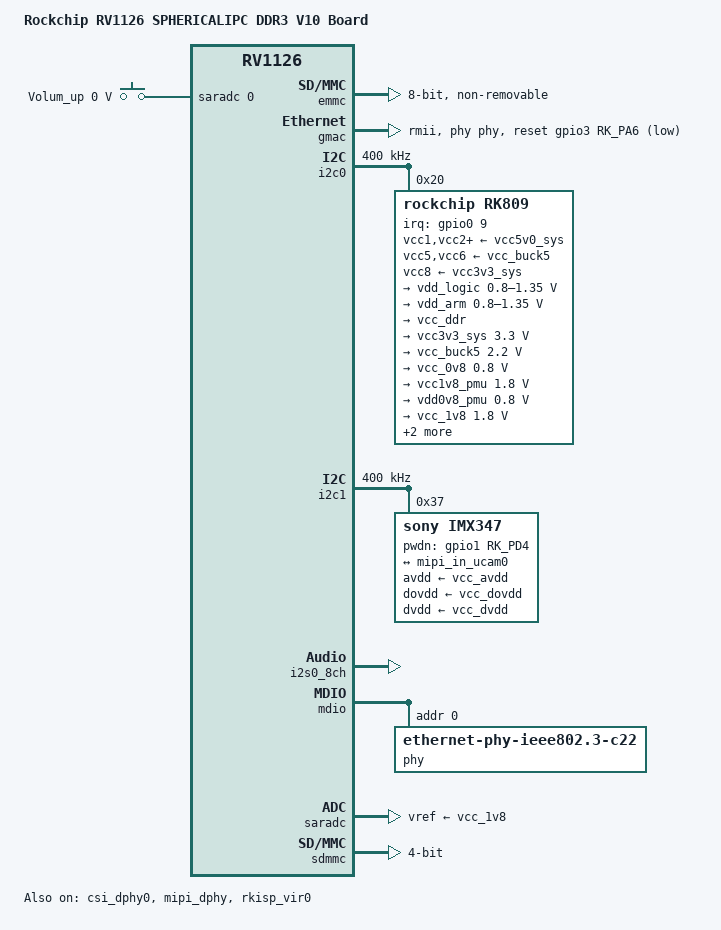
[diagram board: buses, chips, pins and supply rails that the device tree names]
// SPDX-License-Identifier: (GPL-2.0+ OR MIT)
/*
 * Copyright (c) 2020 Fuzhou Rockchip Electronics Co., Ltd.
 */

/dts-v1/;
#include "rv1126.dtsi"
#include "rv1126-ipc.dtsi"
#include <dt-bindings/input/input.h>

/ {
	model = "Rockchip RV1126 SPHERICALIPC DDR3 V10 Board";
	compatible = "rockchip,rv1126-sphericalipc-ddr3-v10", "rockchip,rv1126";

	adc-keys {
		compatible = "adc-keys";
		io-channels = <&saradc 0>;
		io-channel-names = "buttons";
		poll-interval = <100>;
		keyup-threshold-microvolt = <1800000>;

		recovery {
			label = "Volum_up";
			linux,code = <KEY_VOLUMEUP>;
			press-threshold-microvolt = <0>;
		};
	};

	rk809_sound: rk809-sound {
		compatible = "simple-audio-card";
		simple-audio-card,format = "i2s";
		simple-audio-card,name = "rockchip,rk809-codec";
		simple-audio-card,mclk-fs = <256>;
		simple-audio-card,widgets =
			"Microphone", "Mic Jack",
			"Headphone", "Headphone Jack";
		simple-audio-card,routing =
			"Mic Jack", "MICBIAS1",
			"IN1P", "Mic Jack",
			"Headphone Jack", "HPOL",
			"Headphone Jack", "HPOR";
		simple-audio-card,cpu {
			sound-dai = <&i2s0_8ch>;
		};
		simple-audio-card,codec {
			sound-dai = <&rk809_codec>;
		};
	};
};

&csi_dphy0 {
	status = "okay";

	ports {
		#address-cells = <1>;
		#size-cells = <0>;

		port@0 {
			reg = <0>;
			#address-cells = <1>;
			#size-cells = <0>;

			mipi_in_ucam0: endpoint@1 {
				reg = <1>;
				remote-endpoint = <&ucam_out0>;
				data-lanes = <1 2 3 4>;
			};
		};

		port@1 {
			reg = <1>;
			#address-cells = <1>;
			#size-cells = <0>;

			csidphy0_out: endpoint@0 {
				reg = <0>;
				remote-endpoint = <&isp_in>;
			};
		};

	};
};

&emmc {
	bus-width = <8>;
	cap-mmc-highspeed;
	non-removable;
	mmc-hs200-1_8v;
	rockchip,default-sample-phase = <90>;
	no-sdio;
	no-sd;
	/delete-property/ pinctrl-names;
	/delete-property/ pinctrl-0;
	status = "okay";
};

&gmac {
	phy-mode = "rmii";
	clock_in_out = "output";

	snps,reset-gpio = <&gpio3 RK_PA6 GPIO_ACTIVE_LOW>;
	snps,reset-active-low;
	snps,reset-delays-us = <0 50000 50000>;

	assigned-clocks = <&cru CLK_GMAC_SRC>, <&cru CLK_GMAC_TX_RX>;
	assigned-clock-parents = <&cru CLK_GMAC_SRC_M0>, <&cru RMII_MODE_CLK>;
	assigned-clock-rates = <50000000>;

	pinctrl-names = "default";
	pinctrl-0 = <&rmiim0_miim &rgmiim0_rxer &rmiim0_bus2 &rgmiim0_mclkinout_level0>;

	phy-handle = <&phy>;
	status = "okay";
};

&i2c0 {
	status = "okay";
	clock-frequency = <400000>;

	rk809: pmic@20 {
		compatible = "rockchip,rk809";
		reg = <0x20>;
		interrupt-parent = <&gpio0>;
		interrupts = <9 IRQ_TYPE_LEVEL_LOW>;
		pinctrl-names = "default", "pmic-sleep",
			"pmic-power-off", "pmic-reset";
		pinctrl-0 = <&pmic_int>;
		pinctrl-1 = <&soc_slppin_slp>, <&rk817_slppin_slp>;
		pinctrl-2 = <&soc_slppin_gpio>, <&rk817_slppin_pwrdn>;
		pinctrl-3 = <&soc_slppin_rst>, <&rk817_slppin_rst>;
		rockchip,system-power-controller;
		wakeup-source;
		#clock-cells = <1>;
		clock-output-names = "rk808-clkout1", "rk808-clkout2";
		/* 0: rst the pmic, 1: rst regs (default in codes) */
		pmic-reset-func = <0>;

		vcc1-supply = <&vcc5v0_sys>;
		vcc2-supply = <&vcc5v0_sys>;
		vcc3-supply = <&vcc5v0_sys>;
		vcc4-supply = <&vcc5v0_sys>;
		vcc5-supply = <&vcc_buck5>;
		vcc6-supply = <&vcc_buck5>;
		vcc7-supply = <&vcc5v0_sys>;
		vcc8-supply = <&vcc3v3_sys>;
		vcc9-supply = <&vcc5v0_sys>;

		pwrkey {
			status = "okay";
		};

		pinctrl_rk8xx: pinctrl_rk8xx {
			gpio-controller;
			#gpio-cells = <2>;

			/omit-if-no-ref/
			rk817_slppin_null: rk817_slppin_null {
				pins = "gpio_slp";
				function = "pin_fun0";
			};

			/omit-if-no-ref/
			rk817_slppin_slp: rk817_slppin_slp {
				pins = "gpio_slp";
				function = "pin_fun1";
			};

			/omit-if-no-ref/
			rk817_slppin_pwrdn: rk817_slppin_pwrdn {
				pins = "gpio_slp";
				function = "pin_fun2";
			};

			/omit-if-no-ref/
			rk817_slppin_rst: rk817_slppin_rst {
				pins = "gpio_slp";
				function = "pin_fun3";
			};
		};

		regulators {
			vdd_logic: DCDC_REG1 {
				regulator-always-on;
				regulator-boot-on;
				regulator-min-microvolt = <800000>;
				regulator-max-microvolt = <1350000>;
				regulator-ramp-delay = <6001>;
				regulator-initial-mode = <0x2>;
				regulator-name = "vdd_logic";
				regulator-state-mem {
					regulator-on-in-suspend;
					regulator-suspend-microvolt = <800000>;
				};
			};

			vdd_arm: DCDC_REG2 {
				regulator-always-on;
				regulator-boot-on;
				regulator-min-microvolt = <800000>;
				regulator-max-microvolt = <1350000>;
				regulator-ramp-delay = <6001>;
				regulator-initial-mode = <0x2>;
				regulator-name = "vdd_arm";
				regulator-state-mem {
					regulator-off-in-suspend;
				};
			};

			vcc_ddr: DCDC_REG3 {
				regulator-always-on;
				regulator-boot-on;
				regulator-initial-mode = <0x2>;
				regulator-name = "vcc_ddr";
				regulator-state-mem {
					regulator-on-in-suspend;
				};
			};

			vcc3v3_sys: DCDC_REG4 {
				regulator-always-on;
				regulator-boot-on;
				regulator-min-microvolt = <3300000>;
				regulator-max-microvolt = <3300000>;
				regulator-initial-mode = <0x2>;
				regulator-name = "vcc3v3_sys";
				regulator-state-mem {
					regulator-on-in-suspend;
					regulator-suspend-microvolt = <3300000>;
				};
			};

			vcc_buck5: DCDC_REG5 {
				regulator-always-on;
				regulator-boot-on;
				regulator-min-microvolt = <2200000>;
				regulator-max-microvolt = <2200000>;
				regulator-name = "vcc_buck5";
				regulator-state-mem {
					regulator-on-in-suspend;
					regulator-suspend-microvolt = <2200000>;
				};
			};

			vcc_0v8: LDO_REG1 {
				regulator-always-on;
				regulator-boot-on;
				regulator-min-microvolt = <800000>;
				regulator-max-microvolt = <800000>;
				regulator-name = "vcc_0v8";
				regulator-state-mem {
					regulator-off-in-suspend;
				};
			};

			vcc1v8_pmu: LDO_REG2 {
				regulator-always-on;
				regulator-boot-on;
				regulator-min-microvolt = <1800000>;
				regulator-max-microvolt = <1800000>;
				regulator-name = "vcc1v8_pmu";
				regulator-state-mem {
					regulator-on-in-suspend;
					regulator-suspend-microvolt = <1800000>;
				};
			};

			vdd0v8_pmu: LDO_REG3 {
				regulator-always-on;
				regulator-boot-on;
				regulator-min-microvolt = <800000>;
				regulator-max-microvolt = <800000>;
				regulator-name = "vcc0v8_pmu";
				regulator-state-mem {
					regulator-on-in-suspend;
					regulator-suspend-microvolt = <800000>;
				};
			};

			vcc_1v8: LDO_REG4 {
				regulator-always-on;
				regulator-boot-on;
				regulator-min-microvolt = <1800000>;
				regulator-max-microvolt = <1800000>;
				regulator-name = "vcc_1v8";
				regulator-state-mem {
					regulator-on-in-suspend;
					regulator-suspend-microvolt = <1800000>;
				};
			};

			vcc_dovdd: LDO_REG5 {
				regulator-boot-on;
				regulator-min-microvolt = <1800000>;
				regulator-max-microvolt = <1800000>;
				regulator-name = "vcc_dovdd";
				regulator-state-mem {
					regulator-off-in-suspend;
				};
			};

			vcc_dvdd: LDO_REG6 {
				regulator-min-microvolt = <1200000>;
				regulator-max-microvolt = <1200000>;
				regulator-name = "vcc_dvdd";
				regulator-state-mem {
					regulator-off-in-suspend;
				};
			};

			vcc_avdd: LDO_REG7 {
				regulator-min-microvolt = <2800000>;
				regulator-max-microvolt = <2800000>;
				regulator-name = "vcc_avdd";
				regulator-state-mem {
					regulator-off-in-suspend;
				};
			};

			vccio_sd: LDO_REG8 {
				regulator-always-on;
				regulator-boot-on;
				regulator-min-microvolt = <1800000>;
				regulator-max-microvolt = <3300000>;
				regulator-name = "vccio_sd";
				regulator-state-mem {
					regulator-off-in-suspend;
				};
			};

			vcc_ldo9: LDO_REG9 {
				regulator-always-off;
				regulator-boot-off;
				regulator-name = "vcc_ldo9";
				regulator-state-mem {
					regulator-off-in-suspend;
				};
			};

			vcc_sw1: SWITCH_REG1 {
				regulator-always-off;
				regulator-boot-off;
				regulator-name = "vcc_sw1";
			};

			vcc_3v3: SWITCH_REG2 {
				regulator-always-on;
				regulator-boot-on;
				regulator-name = "vcc_3v3";
			};
		};

		rk809_codec: codec {
			#sound-dai-cells = <0>;
			compatible = "rockchip,rk809-codec", "rockchip,rk817-codec";
			clocks = <&cru MCLK_I2S0_TX_OUT2IO>;
			clock-names = "mclk";
			pinctrl-names = "default";
			assigned-clocks = <&cru MCLK_I2S0_TX_OUT2IO>;
			assigned-clock-parents = <&cru MCLK_I2S0_TX>;
			pinctrl-0 = <&i2s0m0_mclk>;
			hp-volume = <20>;
			spk-volume = <3>;
		};
	};
};

&i2c1 {
	status = "okay";
	clock-frequency = <400000>;
	i2c-scl-rising-time-ns = <280>;
	i2c-scl-falling-time-ns = <16>;

	imx347: imx347@37 {
		compatible = "sony,imx347";
		reg = <0x37>;
		clocks = <&cru CLK_MIPICSI_OUT>;
		clock-names = "xvclk";
		power-domains = <&power RV1126_PD_VI>;
		pinctrl-names = "default";
		pinctrl-0 = <&mipicsi_clk0>;
		avdd-supply = <&vcc_avdd>;
		dovdd-supply = <&vcc_dovdd>;
		dvdd-supply = <&vcc_dvdd>;
		pwdn-gpios = <&gpio1 RK_PD4 GPIO_ACTIVE_HIGH>;
		rockchip,camera-module-index = <1>;
		rockchip,camera-module-facing = "front";
		rockchip,camera-module-name = "JSD3425-C1";
		rockchip,camera-module-lens-name = "40IRC";
		port {
			ucam_out0: endpoint {
				remote-endpoint = <&mipi_in_ucam0>;
				data-lanes = <1 2 3 4>;
			};
		};
	};
};

&i2s0_8ch {
	status = "okay";
	#sound-dai-cells = <0>;
	rockchip,clk-trcm = <1>;
	rockchip,i2s-rx-route = <3 1 2 0>;
	pinctrl-names = "default";
	pinctrl-0 = <&i2s0m0_sclk_tx
		     &i2s0m0_lrck_tx
		     &i2s0m0_sdo0
		     &i2s0m0_sdo1_sdi3>;
};

&mdio {
	phy: phy@0 {
		compatible = "ethernet-phy-ieee802.3-c22";
		reg = <0x0>;
	};
};

&mipi_dphy {
	status = "okay";
};

&pmu_io_domains {
	status = "okay";

	pmuio0-supply = <&vcc1v8_pmu>;
	pmuio1-supply = <&vcc3v3_sys>;
	vccio2-supply = <&vccio_sd>;
	vccio4-supply = <&vcc_1v8>;
	vccio5-supply = <&vcc_3v3>;
	vccio6-supply = <&vcc_3v3>;
	vccio7-supply = <&vcc_1v8>;
};

&rkisp_vir0 {
	status = "okay";

	ports {
		port@0 {
			reg = <0>;
			#address-cells = <1>;
			#size-cells = <0>;

			isp_in: endpoint@0 {
				reg = <0>;
				remote-endpoint = <&csidphy0_out>;
			};
		};
	};
};

&saradc {
	status = "okay";
	vref-supply = <&vcc_1v8>;
};

&sdmmc {
	bus-width = <4>;
	cap-mmc-highspeed;
	cap-sd-highspeed;
	card-detect-delay = <200>;
	rockchip,default-sample-phase = <90>;
	no-sdio;
	no-mmc;
	sd-uhs-sdr12;
	sd-uhs-sdr25;
	sd-uhs-sdr104;
	vqmmc-supply = <&vccio_sd>;
	status = "okay";
};
